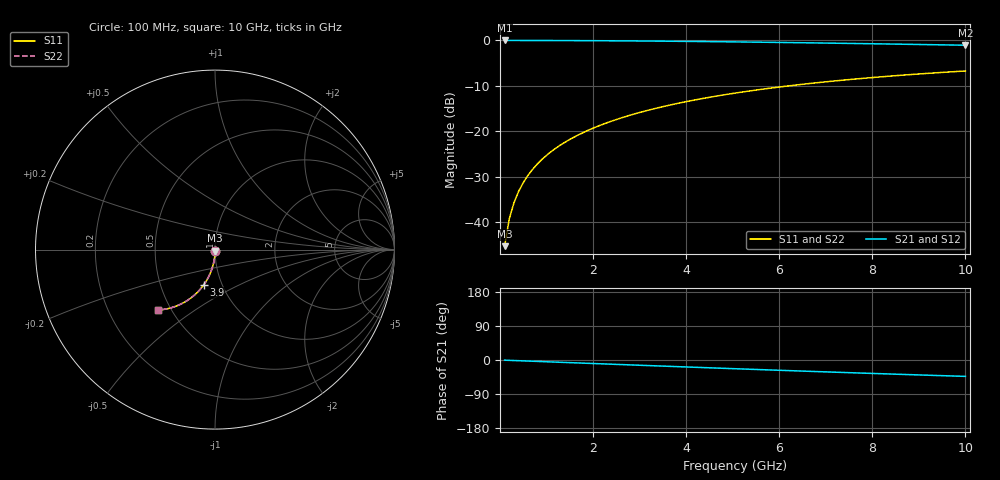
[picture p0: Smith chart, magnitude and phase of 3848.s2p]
# Hz S RI R 50.00
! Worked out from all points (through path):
!   100 points, 100 MHz to 10 GHz, reference 50 ohm
!   highest |S21| = 0.00 dB at 100 MHz (marker M1); lowest = -1.1 dB at 10 GHz (marker M2)
!   group delay of S21, straight-line fit = 12.1 ps
!   lowest |S11| = -45.2 dB at 100 MHz (marker M3), VSWR 1.01, Z = 50 - j0.546 ohm
!   |S11| at or under -10 dB: start of sweep to 6.198 GHz
!   |S22| runs from -45.2 to -6.7 dB; largest |S21 - S12| = 0
!   S11 on the Smith chart (normalised r, x): 100 MHz: 1.00, -0.01; 3.9 GHz: 0.82, -0.34; 10 GHz: 0.43, -0.36
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1e8  0.000375 -0.00546  0.9995 -0.00809  0.9995 -0.00809  0.000375 -0.00546
2e8  0.000238 -0.0109  0.9994 -0.0162  0.9994 -0.0162  0.000238 -0.0109
3e8  1.29e-05 -0.0164  0.9991 -0.0243  0.9991 -0.0243  1.29e-05 -0.0164
4e8  -0.000301 -0.0218  0.9988 -0.0324  0.9988 -0.0324  -0.000301 -0.0218
5e8  -0.000704 -0.0273  0.9983 -0.0404  0.9983 -0.0404  -0.000704 -0.0273
6e8  -0.00119 -0.0327  0.9978 -0.0485  0.9978 -0.0485  -0.00119 -0.0327
7e8  -0.00177 -0.0381  0.9972 -0.0566  0.9972 -0.0566  -0.00177 -0.0381
8e8  -0.00244 -0.0436  0.9965 -0.0646  0.9965 -0.0646  -0.00244 -0.0436
9e8  -0.00319 -0.049  0.9956 -0.0727  0.9956 -0.0727  -0.00319 -0.049
1.1e9  -0.00496 -0.0597  0.9937 -0.0887  0.9937 -0.0887  -0.00496 -0.0597
1.4e9  -0.00826 -0.0757  0.9902 -0.1126  0.9902 -0.1126  -0.00826 -0.0757
1.8e9  -0.0138 -0.0968  0.9841 -0.1442  0.9841 -0.1442  -0.0138 -0.0968
2.1e9  -0.0189 -0.1122  0.9787 -0.1676  0.9787 -0.1676  -0.0189 -0.1122
2.5e9  -0.0268 -0.1324  0.9701 -0.1984  0.9701 -0.1984  -0.0268 -0.1324
2.9e9  -0.0359 -0.1519  0.9603 -0.2285  0.9603 -0.2285  -0.0359 -0.1519
3.4e9  -0.0489 -0.1752  0.9462 -0.2652  0.9462 -0.2652  -0.0489 -0.1752
3.9e9  -0.0635 -0.1974  0.9302 -0.3006  0.9302 -0.3006  -0.0635 -0.1974
5.1e9  -0.1048 -0.2445  0.8851 -0.3799  0.8851 -0.3799  -0.1048 -0.2445
5.9e9  -0.136 -0.2707  0.8506 -0.4277  0.8506 -0.4277  -0.136 -0.2707
6.7e9  -0.1694 -0.2925  0.8135 -0.4714  0.8135 -0.4714  -0.1694 -0.2925
8.4e9  -0.2445 -0.3242  0.7286 -0.5498  0.7286 -0.5498  -0.2445 -0.3242
1e10  -0.3161 -0.3363  0.6455 -0.6068  0.6455 -0.6068  -0.3161 -0.3363
